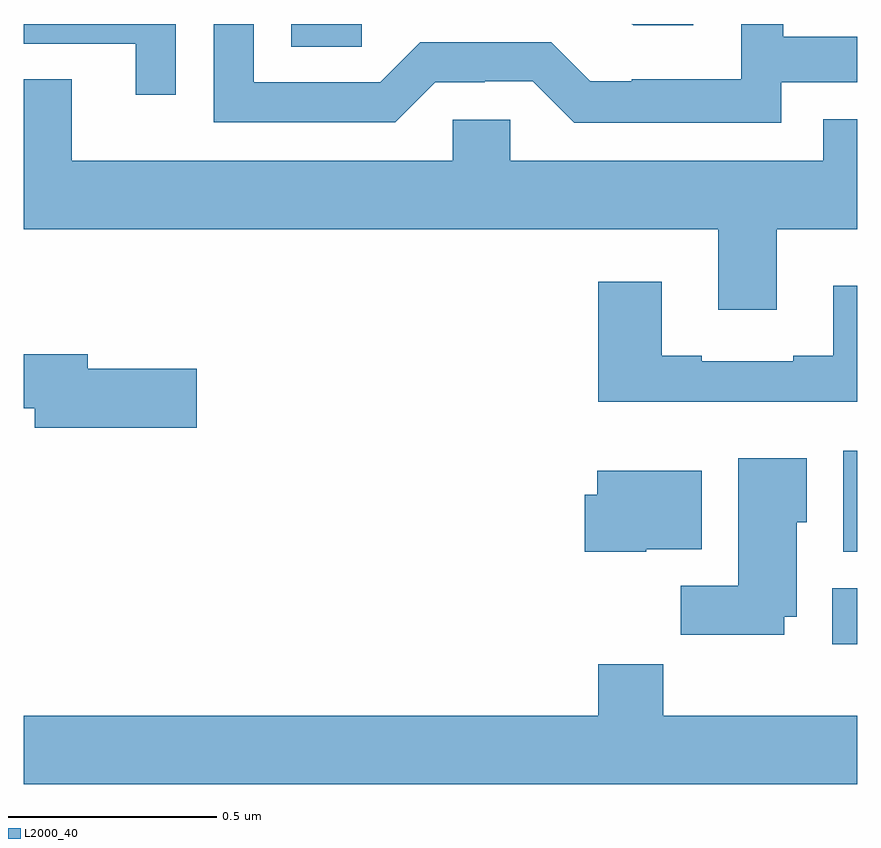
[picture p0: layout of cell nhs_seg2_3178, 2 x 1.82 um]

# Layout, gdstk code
import gdstk
lib = gdstk.Library(unit=1e-6, precision=1e-09)
def R(c, l, rs):  # rectangles x0, y0, x1, y1
    for r in rs: c.add(gdstk.rectangle(r[:2], r[2:], *l))
def P(c, l, *ps):  # polygons
    for p in ps: c.add(gdstk.Polygon(p, *l))
L2000_40 = (2000, 40)

nhs_seg2_3178 = lib.new_cell('nhs_seg2_3178')
R(nhs_seg2_3178, L2000_40, [(151.94,641.312,152,641.446), (151.967,641.534,152,641.776), (150.642,642.745,150.811,642.8)])
P(nhs_seg2_3178, L2000_40, [(151.606,642.8),(151.459,642.8),(151.462,642.797),(151.606,642.797)],
  [(150.365,642.8),(150,642.8),(150,642.753),(150.269,642.753),(150.269,642.63),(150.365,642.63)],
  [(151.818,642.66),(152,642.66),(152,642.769),(151.823,642.769),(151.823,642.8),(151.722,642.8),(151.722,642.667),(151.459,642.667),(151.459,642.663),(151.359,642.663),(151.266,642.756),(150.951,642.756),(150.855,642.66),(150.552,642.66),(150.552,642.8),(150.456,642.8),(150.456,642.564),(150.891,642.564),(150.987,642.66),(151.106,642.66),(151.106,642.663),(151.221,642.663),(151.321,642.563),(151.818,642.563)],
  [(151.807,642.308),(152,642.308),(152,642.571),(151.919,642.571),(151.919,642.472),(151.167,642.472),(151.167,642.57),(151.029,642.57),(151.029,642.472),(150.115,642.472),(150.115,642.667),(150,642.667),(150,642.308),(151.667,642.308),(151.667,642.114),(151.807,642.114)],
  [(152,642.172),(151.943,642.172),(151.943,642.004),(151.847,642.004),(151.847,641.991),(151.627,641.991),(151.627,642.004),(151.531,642.004),(151.531,642.181),(151.379,642.181),(151.379,641.894),(152,641.894)],
  [(150.415,641.973),(150.154,641.973),(150.154,642.007),(150,642.007),(150,641.878),(150.026,641.878),(150.026,641.831),(150.415,641.831)],
  [(151.825,641.378),(151.855,641.378),(151.855,641.604),(151.879,641.604),(151.879,641.758),(151.715,641.758),(151.715,641.452),(151.576,641.452),(151.576,641.334),(151.825,641.334)],
  [(151.494,641.54),(151.627,641.54),(151.627,641.728),(151.376,641.728),(151.376,641.67),(151.346,641.67),(151.346,641.534),(151.494,641.534)],
  [(152,641.14),(151.535,641.14),(151.535,641.264),(151.379,641.264),(151.379,641.14),(150,641.14),(150,640.976),(152,640.976)])

lib.write_gds('nhs_seg2_3178.gds')
